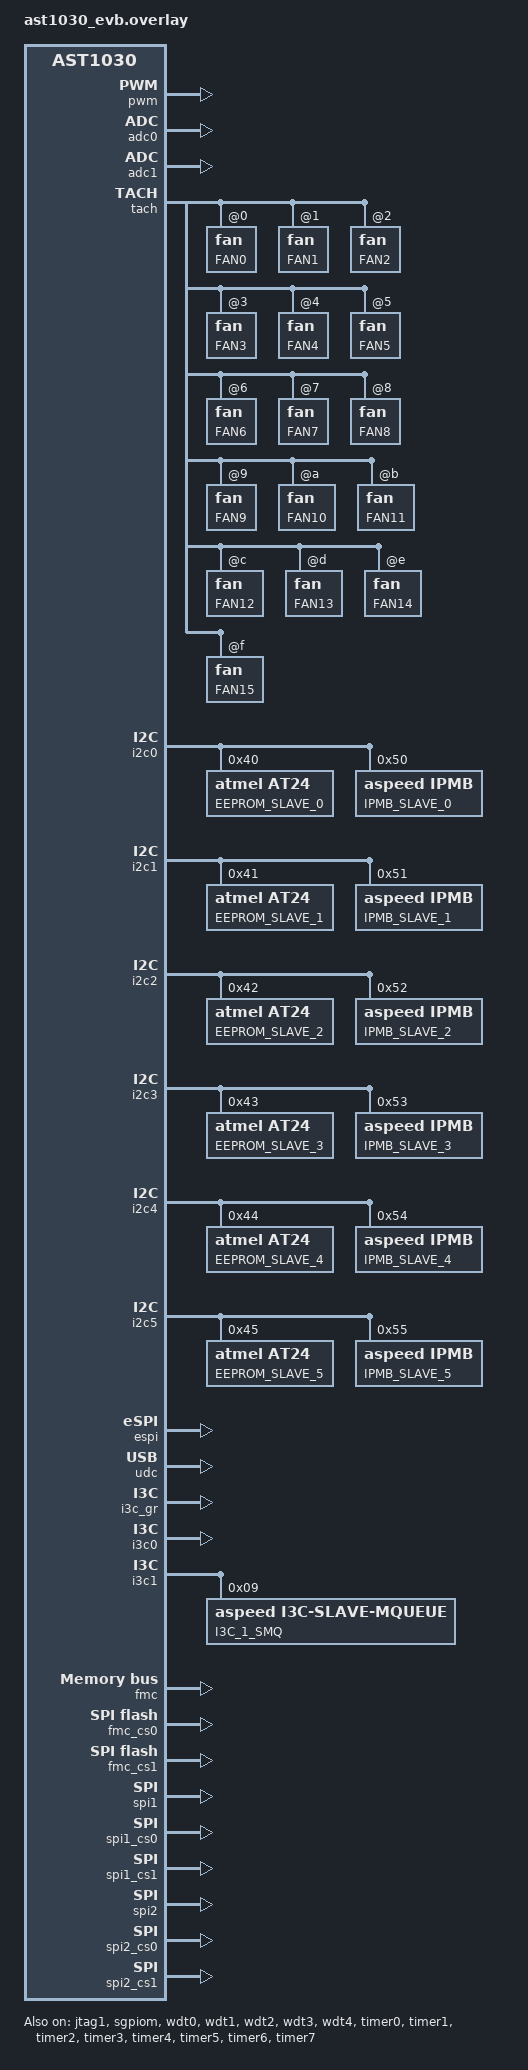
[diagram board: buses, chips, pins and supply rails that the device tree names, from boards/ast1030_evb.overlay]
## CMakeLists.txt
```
# SPDX-License-Identifier: Apache-2.0

cmake_minimum_required(VERSION 3.13.1)

find_package(Zephyr HINTS $ENV{ZEPHYR_BASE})
project(ast1030_evb_full_sample)

FILE(GLOB app_sources src/*.c)
target_sources(app PRIVATE ${app_sources})
```

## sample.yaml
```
sample:
  name: Aspeed full function demo sample
tests:
  sample.board.ast1030_evb:
    platform_allow: ast1030_evb
```

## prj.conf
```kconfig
CONFIG_GPIO=y
CONFIG_SPI=y
CONFIG_I2C=y
CONFIG_THREAD_RUNTIME_STATS=y
CONFIG_GPIO_SHELL=y
CONFIG_I2C_SLAVE=y
CONFIG_I2C_EEPROM_SLAVE=y
CONFIG_I2C_IPMB_SLAVE=y
CONFIG_PWM=y
CONFIG_ADC=y
CONFIG_JTAG=y
CONFIG_FLASH=y
CONFIG_SPI_NOR_MULTI_DEV=y
CONFIG_FLASH_SHELL=y
CONFIG_HEAP_MEM_POOL_SIZE=16384
CONFIG_SENSOR=y
CONFIG_USB=y
CONFIG_HWINFO=y
CONFIG_ESPI=y
CONFIG_PECI=y
CONFIG_MINIMAL_LIBC_MALLOC_ARENA_SIZE=16384
CONFIG_REBOOT=y
CONFIG_POSIX_CLOCK=y
CONFIG_STACK_SENTINEL=y
CONFIG_LOG=y
CONFIG_LOG_BACKEND_UART=y
CONFIG_SHELL=y
CONFIG_SHELL_BACKEND_SERIAL_INIT_PRIORITY=99
```

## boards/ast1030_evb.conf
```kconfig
CONFIG_GPIO_ASPEED_SGPIOM=y
CONFIG_GPIO_ASPEED=y
CONFIG_SPI_ASPEED=y
CONFIG_I2C_ASPEED=y
CONFIG_PWM_ASPEED=y
CONFIG_ADC_ASPEED=y
CONFIG_JTAG_ASPEED=y
CONFIG_TACH_ASPEED=y
CONFIG_ESPI_ASPEED=y
CONFIG_PECI_ASPEED=y
CONFIG_PECI_ASPEED_INTERRUPT_DRIVEN=y
CONFIG_I3C=y
CONFIG_I3C_SLAVE=y
CONFIG_I3C_SLAVE_MQUEUE=y
CONFIG_I3C_ASPEED=y
CONFIG_USB_ASPEED=y
CONFIG_USB_DEVICE_VID=0x4153
CONFIG_USB_DEVICE_PID=0x1030
CONFIG_USB_DEVICE_DFU_PID=0x1030
CONFIG_USB_CDC_ACM=y
CONFIG_SHELL_CMDS_USB=y
CONFIG_CRYPTO=y
CONFIG_CRYPTO_ASPEED=y
CONFIG_RSA_ASPEED=y
CONFIG_USB_COMPOSITE_DEVICE=y
CONFIG_USB_DEVICE_PRODUCT="Zephyr DFU sample"
CONFIG_USB_DFU_CLASS=y
CONFIG_FLASH=y
CONFIG_IMG_MANAGER=y
CONFIG_FLASH_PAGE_LAYOUT=y
CONFIG_IMG_BLOCK_BUF_SIZE=4096
CONFIG_USB_REQUEST_BUFFER_SIZE=4096
CONFIG_USB_DFU_DEFAULT_POLLTIMEOUT=40
CONFIG_SHELL_ARGC_MAX=70
CONFIG_WATCHDOG=y
CONFIG_WDT_ASPEED=y
CONFIG_TIMER_ASPEED=y
CONFIG_OTP_ASPEED=y
```

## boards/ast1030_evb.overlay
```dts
&pwm {
	status = "okay";
	pinctrl-0 = <&pinctrl_pwm0_default &pinctrl_pwm1_default
			&pinctrl_pwm2_default &pinctrl_pwm3_default
			&pinctrl_pwm4_default &pinctrl_pwm5_default
			&pinctrl_pwm6_default &pinctrl_pwm7_default
			&pinctrl_pwm8_default &pinctrl_pwm9_default
			&pinctrl_pwm10_default &pinctrl_pwm11_default
			&pinctrl_pwm12_default &pinctrl_pwm13_default
			&pinctrl_pwm14_default &pinctrl_pwm15_default>;

};

&adc0 {
	status = "okay";
	pinctrl-0 = <&pinctrl_adc0_default &pinctrl_adc1_default
		&pinctrl_adc2_default &pinctrl_adc3_default
		&pinctrl_adc4_default &pinctrl_adc5_default
		&pinctrl_adc6_default &pinctrl_adc7_default>;
};

&adc1 {
	status = "okay";
	pinctrl-0 = <&pinctrl_adc8_default &pinctrl_adc9_default
		&pinctrl_adc10_default &pinctrl_adc11_default
		&pinctrl_adc12_default &pinctrl_adc13_default
		&pinctrl_adc14_default &pinctrl_adc15_default>;
};

&jtag1{
	status = "okay";
};

&sgpiom{
	status = "okay";
};

&tach {
	status = "okay";
	pinctrl-0 = <&pinctrl_tach0_default &pinctrl_tach1_default
			&pinctrl_tach2_default &pinctrl_tach3_default
			&pinctrl_tach4_default &pinctrl_tach5_default
			&pinctrl_tach6_default &pinctrl_tach7_default
			&pinctrl_tach8_default &pinctrl_tach9_default
			&pinctrl_tach10_default &pinctrl_tach11_default
			&pinctrl_tach12_default &pinctrl_tach13_default
			&pinctrl_tach14_default &pinctrl_tach15_default>;
	fan@0 {
		reg = <0>;
		pulse-pr = <2>;
		min-rpm = <1000>;
		tach-div = <5>;
		label = "FAN0";
	};

	fan@1 {
		reg = <1>;
		pulse-pr = <2>;
		min-rpm = <1000>;
		tach-div = <5>;
		label = "FAN1";
	};

	fan@2 {
		reg = <2>;
		pulse-pr = <2>;
		min-rpm = <1000>;
		tach-div = <5>;
		label = "FAN2";
	};

	fan@3 {
		reg = <3>;
		pulse-pr = <2>;
		min-rpm = <1000>;
		tach-div = <5>;
		label = "FAN3";
	};

	fan@4 {
		reg = <4>;
		pulse-pr = <2>;
		min-rpm = <1000>;
		tach-div = <5>;
		label = "FAN4";
	};

	fan@5 {
		reg = <5>;
		pulse-pr = <2>;
		min-rpm = <1000>;
		tach-div = <5>;
		label = "FAN5";
	};

	fan@6 {
		reg = <6>;
		pulse-pr = <2>;
		min-rpm = <1000>;
		tach-div = <5>;
		label = "FAN6";
	};

	fan@7 {
		reg = <7>;
		pulse-pr = <2>;
		min-rpm = <1000>;
		tach-div = <5>;
		label = "FAN7";
	};

	fan@8 {
		reg = <8>;
		pulse-pr = <2>;
		min-rpm = <1000>;
		tach-div = <5>;
		label = "FAN8";
	};

	fan@9 {
		reg = <9>;
		pulse-pr = <2>;
		min-rpm = <1000>;
		tach-div = <5>;
		label = "FAN9";
	};

	fan@a {
		reg = <0xa>;
		pulse-pr = <2>;
		min-rpm = <1000>;
		tach-div = <5>;
		label = "FAN10";
	};

	fan@b {
		reg = <0xb>;
		pulse-pr = <2>;
		min-rpm = <1000>;
		tach-div = <5>;
		label = "FAN11";
	};

	fan@c {
		reg = <0xc>;
		pulse-pr = <2>;
		min-rpm = <1000>;
		tach-div = <5>;
		label = "FAN12";
	};

	fan@d {
		reg = <0xd>;
		pulse-pr = <2>;
		min-rpm = <1000>;
		tach-div = <5>;
		label = "FAN13";
	};

	fan@e {
		reg = <0xe>;
		pulse-pr = <2>;
		min-rpm = <1000>;
		tach-div = <5>;
		label = "FAN14";
	};

	fan@f {
		reg = <0xf>;
		pulse-pr = <2>;
		min-rpm = <1000>;
		tach-div = <5>;
		label = "FAN15";
	};
};

&i2c0 {
	status = "okay";
	pinctrl-0 = <&pinctrl_i2c0_default>;

	eeprom0: eeprom0@40 {
		compatible = "atmel,at24";
		reg = <0x40>;
		label = "EEPROM_SLAVE_0";
		size = <256>;
		pagesize = <16>;
		address-width = <8>;
		timeout = <5>;
#ifdef CONFIG_I2C_EEPROM_SLAVE
		status = "okay";
#endif
	};

	ipmb0: ipmb0@50 {
		compatible = "aspeed,ipmb";
		reg = <0x50>;
		label = "IPMB_SLAVE_0";
		size = <5>;
#ifdef CONFIG_I2C_IPMB_SLAVE
		status = "okay";
#endif
	};

};

&i2c1 {
	pinctrl-0 = <&pinctrl_i2c1_default>;
	status = "okay";

	eeprom1: eeprom1@41 {
		compatible = "atmel,at24";
		reg = <0x41>;
		label = "EEPROM_SLAVE_1";
		size = <256>;
		pagesize = <16>;
		address-width = <8>;
		timeout = <5>;
#ifdef CONFIG_I2C_EEPROM_SLAVE
		status = "okay";
#endif
	};

	ipmb1: ipmb1@51 {
		compatible = "aspeed,ipmb";
		reg = <0x51>;
		label = "IPMB_SLAVE_1";
		size = <5>;
#ifdef CONFIG_I2C_IPMB_SLAVE
		status = "okay";
#endif
	};

};

&i2c2 {
	pinctrl-0 = <&pinctrl_i2c2_default>;
	status = "okay";

	eeprom2: eeprom2@42 {
		compatible = "atmel,at24";
		reg = <0x42>;
		label = "EEPROM_SLAVE_2";
		size = <256>;
		pagesize = <16>;
		address-width = <8>;
		timeout = <5>;
#ifdef CONFIG_I2C_EEPROM_SLAVE
		status = "okay";
#endif
	};

	ipmb2: ipmb2@52 {
		compatible = "aspeed,ipmb";
		reg = <0x52>;
		label = "IPMB_SLAVE_2";
		size = <5>;
#ifdef CONFIG_I2C_IPMB_SLAVE
		status = "okay";
#endif
	};

};

&i2c3 {
	pinctrl-0 = <&pinctrl_i2c3_default>;
	status = "okay";

	eeprom3: eeprom3@43 {
		compatible = "atmel,at24";
		reg = <0x43>;
		label = "EEPROM_SLAVE_3";
		size = <256>;
		pagesize = <16>;
		address-width = <8>;
		timeout = <5>;
#ifdef CONFIG_I2C_EEPROM_SLAVE
		status = "okay";
#endif
	};

	ipmb3: ipmb3@53 {
		compatible = "aspeed,ipmb";
		reg = <0x53>;
		label = "IPMB_SLAVE_3";
		size = <5>;
#ifdef CONFIG_I2C_IPMB_SLAVE
		status = "okay";
#endif
	};

};

&i2c4 {
	pinctrl-0 = <&pinctrl_i2c4_default>;
	status = "okay";

	eeprom4: eeprom4@44 {
		compatible = "atmel,at24";
		reg = <0x44>;
		label = "EEPROM_SLAVE_4";
		size = <256>;
		pagesize = <16>;
		address-width = <8>;
		timeout = <5>;
#ifdef CONFIG_I2C_EEPROM_SLAVE
		status = "okay";
#endif
	};

	ipmb4: ipmb4@54 {
		compatible = "aspeed,ipmb";
		reg = <0x54>;
		label = "IPMB_SLAVE_4";
		size = <5>;
#ifdef CONFIG_I2C_IPMB_SLAVE
		status = "okay";
#endif
	};

};

&i2c5 {
	pinctrl-0 = <&pinctrl_i2c5_default>;
	status = "okay";

	eeprom5: eeprom5@45 {
		compatible = "atmel,at24";
		reg = <0x45>;
		label = "EEPROM_SLAVE_5";
		size = <256>;
		pagesize = <16>;
		address-width = <8>;
		timeout = <5>;
#ifdef CONFIG_I2C_EEPROM_SLAVE
		status = "okay";
#endif
	};

	ipmb5: ipmb5@55 {
		compatible = "aspeed,ipmb";
		reg = <0x55>;
		label = "IPMB_SLAVE_5";
		size = <5>;
#ifdef CONFIG_I2C_IPMB_SLAVE
		status = "okay";
#endif
	};

};

&espi {
	status = "okay";
	perif,memcyc-src-addr = <0x98000000>;
	perif,memcyc-size = <0x10000>;
	flash,safs-mode = <0x2>;
};

&udc {
	status = "okay";
};

&i3c_gr {
	status = "okay";
};

&i3c0 {
	status = "okay";
	assigned-address = <0x8>;
};

&i3c1 {
	status = "okay";
	assigned-address = <0x9>;
	secondary;
	i3c1_smq:i3c-slave-mqueue@9 {
		compatible = "aspeed,i3c-slave-mqueue";
		reg = <0x9>;
		msg-size = <256>;
		num-of-msgs = <4>;
		mandatory-data-byte = <0xbf>;
		label = "I3C_1_SMQ";
		status = "okay";
	};
};

&fmc {
	status = "okay";
};

&fmc_cs0 {
	status = "okay";
	spi-max-buswidth = <4>;
	spi-max-frequency = <50000000>;

	partitions {
		compatible = "fixed-partitions";
		#address-cells = <1>;
		#size-cells = <1>;
		boot_partition: partition@0 {
			label = "image-0";
			reg = <0x0 0x100000>;
		};
		dfu_partition: partition@1 {
		       label = "image-1";
		       reg = <0x0 0x100000>;
	       };
	};
};

&fmc_cs1 {
	status = "okay";
	spi-max-buswidth = <4>;
	spi-max-frequency = <50000000>;
};

&spi1 {
	status = "okay";
};

&spi1_cs0 {
	status = "okay";
	spi-max-buswidth = <4>;
	spi-max-frequency = <50000000>;
};

&spi1_cs1 {
	status = "okay";
	spi-max-buswidth = <4>;
	spi-max-frequency = <50000000>;
};

&spi2 {
	status = "okay";
};

&spi2_cs0 {
	status = "okay";
	spi-max-buswidth = <4>;
	spi-max-frequency = <50000000>;
};

&spi2_cs1 {
	status = "okay";
	spi-max-buswidth = <4>;
	spi-max-frequency = <50000000>;
};

&wdt0 {
	status = "okay";
};

&wdt1 {
	status = "okay";
};

&wdt2 {
	status = "okay";
};

&wdt3 {
	status = "okay";
};

&wdt4 {
	status = "okay";
};

&timer0 {
	status = "okay";
};

&timer1 {
	status = "okay";
};

&timer2 {
	status = "okay";
};

&timer3 {
	status = "okay";
};

&timer4 {
	status = "okay";
};

&timer5 {
	status = "okay";
};

&timer6 {
	status = "okay";
};

&timer7 {
	status = "okay";
};
```

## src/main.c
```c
/*
 * Copyright 2021 ASPEED
 *
 * SPDX-License-Identifier: Apache-2.0
 */

#include <zephyr.h>
#include <sys/printk.h>
#include <soc.h>

void main(void)
{
	printk("%s demo\n", CONFIG_BOARD);
	aspeed_print_sysrst_info();
}
```

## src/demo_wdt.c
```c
/*
 * Copyright 2021 ASPEED
 *
 * SPDX-License-Identifier: Apache-2.0
 */

#include <zephyr.h>
#include <sys/printk.h>
#include <soc.h>
#include <drivers/watchdog.h>

void wdt_demo_background_thread(void)
{
	int ret = 0;
	const struct device *wdt2_dev = NULL;
	struct wdt_timeout_cfg wdt_config;

	wdt2_dev = device_get_binding("wdt2");
	if (!wdt2_dev) {
		printk("demo_err: cannot find wdt2 device.\n");
		return;
	}

	wdt_config.window.min = 0U;
	wdt_config.window.max = 5000; /* 5s */
	wdt_config.callback = NULL;
	ret = wdt_install_timeout(wdt2_dev, &wdt_config);
	if (ret != 0) {
		printk("demo_err: fail to install wdt2 timeout.\n");
		return;
	}

	ret = wdt_setup(wdt2_dev, WDT_FLAG_RESET_CPU_CORE);
	if (ret != 0) {
		printk("demo_err: fail to setup wdt2.\n");
		return;
	}

	while (1) {
		wdt_feed(wdt2_dev, 0);
		k_sleep(K_MSEC(3000));
	}
}

K_THREAD_DEFINE(wdt_background, 1024, wdt_demo_background_thread,
	NULL, NULL, NULL, -1, 0, 1000);
```
